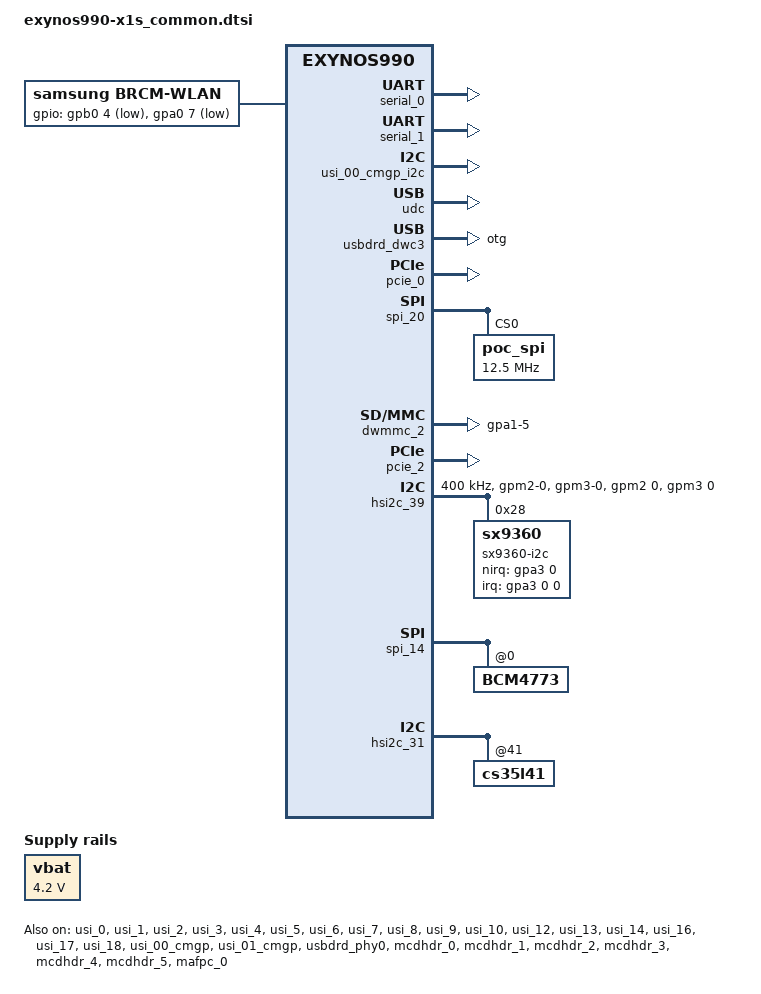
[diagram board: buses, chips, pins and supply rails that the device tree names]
/*
 * SAMSUNG EXYNOS990 board device tree source
 *
 * Copyright (c) 2019 Samsung Electronics Co., Ltd.
 *		http://www.samsung.com
 *
 * This program is free software; you can redistribute it and/or modify
 * it under the terms of the GNU General Public License version 2 as
 * published by the Free Software Foundation.
*/

#include <dt-bindings/clock/exynos9830.h>
#include "exynos9830-universal9830_if-pmic-max77705.dtsi"
#include <dt-bindings/pci/pci.h>
#include "exynos9830-x1s_camera.dtsi"
#include "exynos9830-picasso2lte_mst_r00.dtsi"
#include "exynos9830-hubble_sound.dtsi"
#include "exynos9830-hubblex1_input_common.dtsi"
#include "exynos9830-hubble_vib.dtsi"
#include "exynos9830-inputbooster.dtsi"
#include "exynos990-hubble_panel_display_modes.dtsi"

/ {
	compatible = "samsung,exynos990", "samsung,UNIVERSAL990";

	fragment@model {
		target-path = "/";
		__overlay__ {
			#address-cells = <2>;
			#size-cells = <1>;

			fixed-rate-clocks {
				oscclk {
					compatible = "samsung,exynos9830-oscclk";
					clock-frequency = <26000000>;
				};
			};

			exynos_rgt {
				compatible = "samsung,exynos-rgt";
				num-acpm-pmic = <2>;
			};

			firmware {
				android: android {
					compatible = "android,firmware";
					vbmeta {
						compatible = "android,vbmeta";
						parts = "vbmeta,boot,system,vendor,product,odm,prism,optics,vbmeta_samsung,recovery,dtbo,keystorage,harx";
					};
				};
			};

			usb_hs_tune:hs_tune {
				status = "disabled";
				hs_tune_cnt = <5>;
				/* value = <device host> */
				hs_tune1 {
					tune_name = "tx_pre_emp";
					tune_value = <0x3 0x3>;
				};

				hs_tune2 {
					tune_name = "tx_vref";
					tune_value = <0xd 0xd>;
				};

				hs_tune3 {
					tune_name = "rx_sqrx";
					tune_value = <0x4 0x4>;
				};

				hs_tune4 {
					tune_name = "utmi_clk";
					tune_value = <0x1 0x1>;
				};

				hs_tune5 {
					tune_name = "compdis";
					tune_value = <0x7 0x7>;
				};
			};

			usb_ss_tune:ss_tune {
				status = "disabled";
				ss_tune_cnt = <36>;
				/* value = <device host> */
				/* 0xffffffff means using default value */
				ss_tune1 {
					tune_name = "ssrx_sqhs_th_ss";
					tune_value = <0xffffffff 0xffffffff>;
				};

				ss_tune2 {
					tune_name = "ssrx_sqhs_th_ssp";
					tune_value = <0xffffffff 0xffffffff>;
				};

				ss_tune3 {
					tune_name = "ssrx_lfps_th";
					tune_value = <0xffffffff 0xffffffff>;
				};

				ss_tune4 {
					tune_name = "ssrx_adap_coef_sel";
					tune_value = <0xffffffff 0xffffffff>;
				};

				ss_tune5 {
					tune_name = "ssrx_mf_eq_psel_ctrl_ss";
					tune_value = <0xffffffff 0xffffffff>;
				};

				ss_tune6 {
					tune_name = "ssrx_mf_eq_psel_ctrl_ssp";
					tune_value = <0xffffffff 0xffffffff>;
				};

				ss_tune7 {
					tune_name = "ssrx_mf_eq_zsel_ctrl_ss";
					tune_value = <0xffffffff 0xffffffff>;
				};

				ss_tune8 {
					tune_name = "ssrx_mf_eq_zsel_ctrl_ssp";
					tune_value = <0xffffffff 0xffffffff>;
				};

				ss_tune9 {
					tune_name = "ssrx_hf_eq_rsel_ctrl_ss";
					tune_value = <0xffffffff 0xffffffff>;
				};

				ss_tune10 {
					tune_name = "ssrx_hf_eq_rsel_ctrl_ssp";
					tune_value = <0xffffffff 0xffffffff>;
				};

				ss_tune11 {
					tune_name = "ssrx_hf_eq_csel_ctrl_ss";
					tune_value = <0xffffffff 0xffffffff>;
				};

				ss_tune12 {
					tune_name = "ssrx_hf_eq_csel_ctrl_ssp";
					tune_value = <0xffffffff 0xffffffff>;
				};

				ss_tune13 {
					tune_name = "ssrx_dfe_1tap_ctrl_ss";
					tune_value = <0xffffffff 0xffffffff>;
				};

				ss_tune14 {
					tune_name = "ssrx_dfe_1tap_ctrl_ssp";
					tune_value = <0xffffffff 0xffffffff>;
				};

				ss_tune15 {
					tune_name = "ssrx_dfe_2tap_ctrl_ss";
					tune_value = <0xffffffff 0xffffffff>;
				};

				ss_tune16 {
					tune_name = "ssrx_dfe_2tap_ctrl_ssp";
					tune_value = <0xffffffff 0xffffffff>;
				};

				ss_tune17 {
					tune_name = "ssrx_dfe_3tap_ctrl_ss";
					tune_value = <0xffffffff 0xffffffff>;
				};

				ss_tune18 {
					tune_name = "ssrx_dfe_3tap_ctrl_ssp";
					tune_value = <0xffffffff 0xffffffff>;
				};

				ss_tune19 {
					tune_name = "ssrx_dfe_4tap_ctrl_ss";
					tune_value = <0xffffffff 0xffffffff>;
				};

				ss_tune20 {
					tune_name = "ssrx_dfe_4tap_ctrl_ssp";
					tune_value = <0xffffffff 0xffffffff>;
				};

				ss_tune21 {
					tune_name = "ssrx_dfe_5tap_ctrl_ss";
					tune_value = <0xffffffff 0xffffffff>;
				};

				ss_tune22 {
					tune_name = "ssrx_dfe_5tap_ctrl_ssp";
					tune_value = <0xffffffff 0xffffffff>;
				};

				ss_tune23 {
					tune_name = "ssrx_term_cal";
					tune_value = <0xffffffff 0xffffffff>;
				};

				ss_tune24 {
					tune_name = "sstx_amp_ss";
					tune_value = <0xffffffff 0xffffffff>;
				};

				ss_tune25 {
					tune_name = "sstx_deemp_ss";
					tune_value = <0xffffffff 0xffffffff>;
				};

				ss_tune26 {
					tune_name = "sstx_pre_shoot_ss";
					tune_value = <0xffffffff 0xffffffff>;
				};

				ss_tune27 {
					tune_name = "sstx_amp_ssp";
					tune_value = <0xffffffff 0xffffffff>;
				};

				ss_tune28 {
					tune_name = "sstx_deemp_ssp";
					tune_value = <0xffffffff 0xffffffff>;
				};

				ss_tune29 {
					tune_name = "sstx_pre_shoot_ssp";
					tune_value = <0xffffffff 0xffffffff>;
				};

				ss_tune30 {
					tune_name = "sstx_idrv_up";
					tune_value = <0xffffffff 0xffffffff>;
				};

				ss_tune31 {
					tune_name = "sstx_lfps_idrv_up";
					tune_value = <0xffffffff 0xffffffff>;
				};

				ss_tune32 {
					tune_name = "sstx_up_term";
					tune_value = <0xffffffff 0xffffffff>;
				};

				ss_tune33 {
					tune_name = "sstx_dn_term";
					tune_value = <0xffffffff 0xffffffff>;
				};

				ss_tune34 {
					tune_name = "rext_ovrd";
					tune_value = <0xffffffff 0xffffffff>;
				};

				ss_tune35 {
					tune_name = "ssrx_cdr_fbb_fine_ctrl_sp";
					tune_value = <0xffffffff 0xffffffff>;
				};

				ss_tune36 {
					tune_name = "ssrx_cdr_fbb_fine_ctrl_ssp";
					tune_value = <0xffffffff 0xffffffff>;
				};
			};

			usb_notifier {
				compatible = "samsung,usb-notifier";
				udc = <&udc>;

				usb-ldocontrol = <4>; /* Exynos9830 */
				disable_host_wakelock;
			};

			wlan {
				compatible = "samsung,brcm-wlan";
				gpios = <&gpb0 4 0x1 /* WLAN_EN */
					&gpa0 7 0x1 /* WLAN HOST WAKE GPIO_0 */>;
				pinctrl-names = "default";
				pinctrl-0 = <&cfg_wlanen &wlan_host_wake>;
				status = "okay";
			};

			vbat: vbat {
				compatible = "regulator-fixed";
				regulator-name = "VBAT";
				regulator-min-microvolt = <4200000>;
				regulator-max-microvolt = <4200000>;
				regulator-boot-on;
			};

			hall {
				status = "okay";
				compatible = "hall";
				pinctrl-names = "default";
				pinctrl-0 = <&hall_irq>;
				hall,gpio_flip_cover = <&gpa3 6 1>;
			};

			certify_hall {
				status = "okay";
				compatible = "certify_hall";
				pinctrl-names = "default";
				pinctrl-0 = <&certify_hall_irq>;
				certify_hall,gpio_certify_cover = <&gpa0 2 1>;
			};

			sec_abc {
				compatible = "samsung,sec_abc";
				status = "okay";

				gpu {
					gpu,label="GPU fault";
					gpu,threshold_count=<20>;
					gpu,threshold_time=<1200>;
				};
				aicl {
					aicl,label="battery aicl";
					aicl,threshold_count=<5>;
					aicl,threshold_time=<300>;
				};
			};

			abc_hub {
				compatible = "samsung,abc_hub";
				status = "okay";

				bootc {
					bootc,time_spec_user = <100000>; /* user binary user build */
					bootc,time_spec_eng = <100000>; /* user binary eng build */
					bootc,time_spec_fac = <100000>; /* factory binary */
				};
			};

			nad_balancer {
				compatible = "samsung,sec_nad_balancer";
				status = "okay";

				nad_balancer,timeout = <400>;

				qos {
					cl0 {
						qos,label="LIT";
						qos,delay_time=<9>;
						qos,table_size=<13>;
						qos,table=<1950000 1846000 1742000 1586000 1456000 1300000 1157000 1053000 949000
							806000 650000 546000 442000>;
					};

					cl1 {
						qos,label="MID";
						qos,delay_time=<8>;
						qos,table_size=<17>;
						qos,table=<2314000 2210000 2106000 2002000 1898000 1794000 1690000 1586000 1508000
							1404000 1222000 1066000 962000 845000 754000 650000 507000>;
					};

					cl2 {
						qos,label="BIG";
						qos,delay_time=<7>;
						qos,table_size=<18>;
						qos,table=<2314000 2210000 2106000 2002000 1898000 1794000 1690000 1586000 1482000 
							1378000 1274000 1170000 1066000 962000 858000 754000 650000 546000>;
					};

					mif {
						qos,label="MIF";
						qos,delay_time=<10>;
						qos,table_size=<5>;
						qos,table=<2028000 1716000 1539000 1352000 1014000>;
					};
				};

				sleep {
					/* per msec */
					sleep,suspend_threshold = <1000>;
					sleep,resume_threshold = <1000>;
				};
			};

			argos {
				compatible = "samsung,argos";
				#address-cells = <1>;
				/*  The device number should be assigned for each device, e.g. "boot_device@1" and "boot_device@2".
				 * Duplicated number is not allowed. Please refer the below example.
				 */

				/* Table Format
				 * threshold : throughput threshold(Mbps)
				 * big_min : Big Core's minimum frequency lock. 0 means not set,
				 * big_max : Big Core's maximum frequency lock. 0 means not set,
				 * mid_min : Middle Core's minimum frequency lock. 0 means not set,
				 * mid_max : Middle Core's maximum frequency lock. 0 means not set,
				 * lit_min : Little Core's minimum frequency lock. 0 means not set,
				 * lit_max : Little Core's maximum frequency lock. 0 means not set,
				 * mif : MIF frequency lock. 0 means not set,
				 * int : INT frequency lock. 0 means not set,
				 * task_affinity : "enable" - Set task affinity lock.
				 *	           "disable" - Not set or unlock,
				 *		   Task affinity should be predefined driver's code.
				 * irq_affinity : "enable" - Set irq affinity lock.
				 *                "disable" - Not set or unlock,
				 *		  IRQ affinity should be predefined driver's code.
				 * hmp_boot : "enable" - Increase hmp boosting count
				 *            "disable" - Decrease hmp boosting count
				 */

				boot_device@1 {
					net_boost,label="UFS";
					net_boost,node="";
					net_boost,sysnode="/sys/class/scsi_host/host0/transferred_cnt";
					net_boost,table {
						level_0 {
							threshold = <800>; /* 100 MB/s */
							mid_min = <1456000>;
							lit_min = <1456000>;
							int = <400000>;
						};
						level_1 {
							threshold = <1120>; /* 140 MB/s */
							mid_min = <2002000>;
							lit_min = <1950000>;
							int = <533000>;
						};
					};
				};
				boot_device@2 {
					net_boost,label="WIFI TX";
					net_boost,node="wlan0";
					net_boost,slowdown;
					net_boost,table {
						level_0 {
							threshold = <60>;
							mid_min = <1456000>;
							lit_min = <1456000>;
						};
						level_1 {
							threshold = <150>;
							mid_min = <1690000>;
							lit_min = <1742000>;
						};
						level_2 {
							threshold = <200>;
							mid_min = <1898000>;
							lit_min = <1742000>;
							mif = <1352000>;
							int = <400000>;
							task_affinity = "enable";
							irq_affinity = "enable";
							hmp_boost = "enable";
						};
						level_3 {
							threshold = <300>;
							mid_min = <2106000>;
							lit_min = <1742000>;
							mif = <1716000>;
							int = <533000>;
							task_affinity = "enable";
							irq_affinity = "enable";
							hmp_boost = "enable";
						};
					};
				};
				boot_device@3 {
					net_boost,label="WIFI RX";
					net_boost,node="wlan0";
					net_boost,slowdown;
					net_boost,table {
						level_0 {
							threshold = <100>;
							mid_min = <1053000>;
							lit_min = <1053000>;
						};
						level_1 {
							threshold = <150>;
							mid_min = <1404000>;
							lit_min = <1300000>;
						};
						level_2 {
							threshold = <200>;
							mid_min = <1690000>;
							lit_min = <1300000>;
							mif = <1352000>;
							int = <400000>;
							task_affinity = "enable";
							irq_affinity = "enable";
							hmp_boost = "enable";
						};
						level_3 {
							threshold = <300>;
							mid_min = <1898000>;
							lit_min = <1456000>;
							mif = <1716000>;
							int = <533000>;
							task_affinity = "enable";
							irq_affinity = "enable";
							hmp_boost = "enable";
						};
					};
				};
				boot_device@4 {
					net_boost,label="P2P";
					net_boost,node="p2p-wlan0-0";
					net_boost,slowdown;
					net_boost,table {
						level_0 {
							threshold = <60>;
							mid_min = <1456000>;
							lit_min = <1456000>;
						};
						level_1 {
							threshold = <150>;
							mid_min = <1690000>;
							lit_min = <1742000>;
						};
						level_2 {
							threshold = <200>;
							mid_min = <1898000>;
							lit_min = <1742000>;
							mif = <1352000>;
							int = <400000>;
							task_affinity = "enable";
							irq_affinity = "enable";
							hmp_boost = "enable";
						};
						level_3 {
							threshold = <300>;
							mid_min = <2106000>;
							lit_min = <1742000>;
							mif = <1716000>;
							int = <533000>;
							task_affinity = "enable";
							irq_affinity = "enable";
							hmp_boost = "enable";
						};
					};
				};
				boot_device@5 {
					net_boost,label="NAN";
					net_boost,node="aware_data0";
					net_boost,slowdown;
					net_boost,table {
						level_0 {
							threshold = <60>;
							mid_min = <1456000>;
							lit_min = <1456000>;
						};
						level_1 {
							threshold = <150>;
							mid_min = <1690000>;
							lit_min = <1742000>;
						};
						level_2 {
							threshold = <200>;
							mid_min = <1898000>;
							lit_min = <1742000>;
							mif = <1352000>;
							int = <400000>;
							task_affinity = "enable";
							irq_affinity = "enable";
							hmp_boost = "enable";
						};
						level_3 {
							threshold = <300>;
							mid_min = <2106000>;
							lit_min = <1742000>;
							mif = <1716000>;
							int = <533000>;
							task_affinity = "enable";
							irq_affinity = "enable";
							hmp_boost = "enable";
						};
					};
				};
				boot_device@6 {
					net_boost,label="IPC";
					net_boost,node="rmnet0 rmnet1 rmnet2 rmnet3 rmnet4 rmnet5 rmnet6 rmnet7 umts_dm0";
					net_boost,table {
						level_0 {
							threshold = <100>;
							lit_min = <1053000>;
						};
						/* uses middle */
						level_1 {
							threshold = <300>;
							lit_min = <1300000>;
						};
						level_2 {
							threshold = <500>;
							mid_min = <845000>;
							lit_min = <1300000>;
						};
						level_3 {
							threshold = <700>;
							mid_min = <1222000>;
							lit_min = <1300000>;
							mif = <1014000>;
						};
						level_4 {
							threshold = <800>;
							mid_min = <1222000>;
							lit_min = <1300000>;
							mif = <1014000>;
						};
						level_5 {
							threshold = <1500>;
							mid_min = <1508000>;
							lit_min = <1300000>;
							mif = <1014000>;
						};
						level_6 {
							threshold = <1600>;
							mid_min = <1508000>;
							lit_min = <1300000>;
							mif = <1014000>;
						};
					};
				};
				boot_device@7 {
					net_boost,label="USB";
					net_boost,node="rndis0";
					net_boost,table {
						level_0 {
							threshold = <100>;
							lit_min = <1053000>;
							irq_affinity = "enable";
						};
						level_1 {
							threshold = <200>;
							lit_min = <1540000>;
							mif = <1014000>;
							irq_affinity = "enable";
						};
						/* uses middle */
						level_2 {
							threshold = <300>;
							mid_min = <1508000>;
							lit_min = <1540000>;
							mif = <2093000>;
							int =<534000>;
							irq_affinity = "enable";
						};
						level_3 {
							threshold = <700>;
							mid_min = <2106000>;
							lit_min = <1794000>;
							mif = <2093000>;
							int =<534000>;
							irq_affinity = "enable";
						};
						level_4 {
							threshold = <800>;
							mid_min = <2106000>;
							lit_min = <1794000>;
							mif = <2535000>;
							int =<534000>;
							irq_affinity = "enable";
						};
						level_5 {
							threshold = <1500>;
							mid_min = <2314000>;
							lit_min = <1950000>;
							mif = <2730000>;
							int =<534000>;
							irq_affinity = "enable";
						};
						level_6 {
							threshold = <1600>;
							mid_min = <2314000>;
							lit_min = <1950000>;
							mif = <2730000>;
							int =<534000>;
							irq_affinity = "enable";
						};
					};
				};
			};
		}; /* end of __overlay__ */
	}; /* end of fragment */

	fragment@modemif {
		target-path = "/";
		__overlay__ {
			cpif {
				status = "okay";

				pinctrl-names = "default";
				pinctrl-0 = <&s5100_ap2cp_cp_pwr_on>,
					<&s5100_ap2cp_cp_nreset_n>,
					<&s5100_cp2ap_cp_ps_hold>,
					<&s5100_ap2cp_wakeup>,
					<&s5100_cp2ap_wakeup>,
					<&s5100_ap2cp_dump_noti>,
					<&s5100_ap2cp_pda_active>,
					<&s5100_cp2ap_phone_active>,
					<&s5100_ap2cp_pda_active_discard>;
			};
		};
	};
}; /* end of root */

/* discard s5100_ap2cp_pda_active due to ESD failure
 * set a pin for s5100_ap2cp_dump_noti to s5100_ap2cp_pda_active instead
 */
&pinctrl_4 {
	s5100_ap2cp_pda_active_discard: s5100_ap2cp_pda_active_discard {
		samsung,pins = "gpg0-0";
		samsung,pin-function = <1>;
		samsung,pin-val = <0>;
		samsung,pin-pud = <1>;
		samsung,pin-con-pdn = <3>;
	};
};

&serial_0 {
	samsung,uart-logging;
	status = "okay";
};

&serial_1 {
	samsung,rts-trig-level = <1>;
	samsung,uart-logging;
	samsung,uart-panic-log;
	status = "okay";
};

&pinctrl_0 {
	hall_irq: hall-irq {
		samsung,pins = "gpa3-6";
		samsung,pin-function = <0xf>;
		samsung,pin-pud = <0>;
		samsung,pin-drv = <0>;
	};

	certify_hall_irq: certify-hall-irq {
		samsung,pins = "gpa0-2";
		samsung,pin-function = <0xf>;
		samsung,pin-pud = <0>;
		samsung,pin-drv = <0>;
	};

	grip_irq: grip-irq {
		samsung,pins = "gpa3-0";
		samsung,pin-function = <0xf>;
		samsung,pin-pud = <0>;
		samsung,pin-drv = <3>;
		samsung,pin-con-pdn = <3>; // PREV in sleep
		samsung,pin-pud-pdn = <0>; // NP in sleep
	};
};

&fmp_0 {
	exynos,block-type = "sda";
	exynos,fips-block_offset = <5>;
};

&usi_0 {
	usi_v2_mode = "i2c";
	status = "okay";
};

&usi_1 {
	usi_v2_mode = "i2c";
	status = "okay";
};

&usi_2 {
	usi_v2_mode = "i2c";
	status = "okay";
};

&usi_3 {
	usi_v2_mode = "i2c";
	status = "okay";
};

&usi_4 {
	usi_v2_mode = "spi";
	status = "okay";
};

&usi_5 {
	usi_v2_mode = "i2c";
	status = "okay";
};

&usi_6 {
	usi_v2_mode = "spi";
	status = "okay";
};

&usi_7 {
	usi_v2_mode = "i2c";
	status = "okay";
};

&usi_8 {
	usi_v2_mode = "spi";
	status = "okay";
};

&usi_9 {
	usi_v2_mode = "spi";
	status = "okay";
};

&usi_10 {
	usi_v2_mode = "spi";
	status = "okay";
};

&usi_12 {
	usi_v2_mode = "i2c";
	status = "okay";
};

&usi_13 {
	usi_v2_mode = "i2c";
	status = "okay";
};

&usi_14 {
	usi_v2_mode = "spi";
	status = "okay";
};

&usi_16 {
	usi_v2_mode = "uart";
	status = "okay";
};

&usi_17 {
	usi_v2_mode = "i2c";
	status = "okay";
};

&usi_18 {
	usi_v2_mode = "spi";
	status = "okay";
};

&usi_00_cmgp {
	usi_v2_mode = "i2c";
	status = "okay";
};

&usi_00_cmgp_i2c {
	usi_v2_mode = "i2c";
	status = "okay";
};

&usi_01_cmgp {
	usi_v2_mode = "spi";
	status = "okay";
};

&serial_18 {
	pinctrl-0 = <&uart18_bus_dual>;
};

&udc {
	status = "okay";
};

&usbdrd_dwc3 {
	status = "okay";

	dr_mode = "otg";
	maximum-speed = "super-speed-plus";
	snps,quirk-frame-length-adjustment = <0x20>;
	/* snps,u1u2_exitfail_quirk; */
	/* ux_exit_in_px should be defined in MK, LT */
	snps,ux_exit_in_px_quirk;
	/* elastic_buf_mode_quirk should be defined in MK */
	snps,elastic_buf_mode_quirk;
	/* usb3-lpm-capable; */
	/* snps,usb3_lpm_capable; */
	adj-sof-accuracy = <1>;
	/*
	 * dis-u2-freeclk-exists-quirk, dis_u2_susphy_quirk are alternative.
	 * One of them should be selected
	 */
	snps,dis-u2-freeclk-exists-quirk;
	/*snps,dis_u2_susphy_quirk;*/
	samsung,no-extra-delay;
	samsung,force-gen1;
	usb_host_device_timeout = <200>; /* Max value */

	usb_audio_offloading = <1>;
	abox = <&abox>;
	/* check susphy support */
	xhci_l2_support = <1>;
};

&usbdrd_phy0 {
	status = "okay";

	/*
	pinctrl-names = "default";
	pinctrl-0 = <&phy_port>;
	*/
	use_default_tune_val = <0x1>;
	phy,gpio_phy_port = <&gpm26 0 0x0>;
	hs_tune_param = <&usb_hs_tune>;
	ss_tune_param = <&usb_ss_tune>;
};

&pcie_0 {
	pinctrl-names = "active","idle";
	pinctrl-0 = <&pcie0_clkreq &pcie0_perst &cfg_wlanen &wlan_host_wake>;
	pinctrl-1 = <&pcie0_perst &cfg_wlanen &wlan_host_wake>;
	status = "okay";
	use-sysmmu = "false";
	use-cache-coherency = "false";
	use-msi = "false";
	ep-device-type = <EP_BCM_WIFI>;
	ep-device-name = "WIFI";
};

&pinctrl_1 {
	spi20_input_none:
	spi20-input-none {
		samsung,pins = "gpm4-0", "gpm5-0", "gpm6-0", "gpm7-0";
		samsung,pin-function = <0>;
		samsung,pin-pud = <0>;
		samsung,pin-drv = <0>;
	};
};

&spi_20 {
	#address-cells = <1>;
	#size-cells = <0>;
	status = "okay";
	pinctrl-names = "default", "idle";
	pinctrl-0 = <&spi20_bus &spi20_cs_func>;
	pinctrl-1 = <&spi20_input_none>;
	num-cs = <1>;
	poc_spi@0 {
		compatible = "poc_spi";
		reg = <0x0>;
		spi-max-frequency = <12500000>;
		bits-per-word = <8>;
		controller-data {
			cs-gpio = <&gpm7 0 0>;
			samsung,spi-chip-select-mode = <0>;
			samsung,spi-feedback-delay = <0>;
		};
	};
};

&pinctrl_1 {
	disp_det_ctrl:	disp-det-ctrl {
		samsung,pins = "gpm17-0";
		samsung,pin-pud = <0>;
	};
};

&pinctrl_5 {
	disp_te_ctrl:	disp-te-ctrl {
		samsung,pins = "gpc0-4";
		samsung,pin-con-pdn = <3>; // prev in sleep
		samsung,pin-pud-pdn = <0>; // np in sleep
	};
};

&s6e3hab {
	size = <64 144>;
};

&panel_drv_0 {
    status = "okay";
	ddi_info = <&s6e3hab>;

	#address-cells = <2>;
	#size-cells = <1>;
	ranges;
	pinctrl-names = "default";
	pinctrl-0 = <&disp_det_ctrl &disp_te_ctrl>;

	gpios {
		disp-reset {
			name = "disp-reset";
			gpios = <&gpa3 4 1>;	/* ACTIVE_LOW */
			dir = <0>;  /* OUT */
			irq-type = <0x0>;   /* NONE */
		};

		disp-det {
			name = "disp-det";
			gpios = <&gpm17 0 1>;  /* 0:OK, 1:NOK(active) */
			dir = <1>;  /* IN */
			irq-type = <0x2>;   /* FALLING EDGE */
			irq-pend {
				reg = <0x0 0x15850A34 0x0>;
				bit = <0x2>;
			};
		};

		err-fg {
			name = "err-fg";
			gpios = <&gpa3 5 0>; 		/* 0:NOK(active) 1:OK */
			dir = <1>;  				/* IN */
			irq-type = <0x00002001>;	/* RISING EDGE | ONE_SHOT */
		};
	};

	regulators {
		ddi-vci {
			regulator = <&dp_ldo4>;
			def-voltage = <3000000>;
			lpm-voltage = <3000000>;
		};

		ddi-vdd3 {
			regulator = <&dp_ldo1>;
			def-voltage = <1800000>;
			lpm-voltage = <1800000>;
		};

		ddr-vddr {
			regulator = <&dp_buck>;
			def-voltage = <1800000>;
			lpm-voltage = <1500000>;
		};

		short-detect {
			regulator = <&dp_elvss>;
			from-off = <2000>;
			from-lpm = <0>;
		};
	};
	panel-lookup {
		panel-name =
			/* OSC:96.5MHz */
			"s6e3hab_hubble1_a3_s0_preliminary_osc_96_5m",
			"s6e3hab_hubble1_a3_s0_default_osc_96_5m",
			"s6e3hab_hubble1_a3_s0_default_osc_96_5m_rev03",
			/* OSC:86.4MHz */
			"s6e3hab_hubble1_a3_s0_preliminary",
			"s6e3hab_hubble1_a3_s0_default",
			"s6e3hab_hubble1_a3_s0_default_rev03";
		panel-ddi-info = <&s6e3hab>;
		panel-display-modes = <&hubble_panel_display_modes>;
		panel-lut = <
			0x000000 0x0000CF 0x0 0x0  /* S6E3HAB 1440x3200 X1 PANEL REV00, OSC:96.5 */
			0x000001 0x0000CF 0x0 0x0  /* S6E3HAB 1440x3200 X1 PANEL REV01, OSC:96.5 */
			0x000002 0x0000CF 0x1 0x0  /* S6E3HAB 1440x3200 X1 PANEL REV02, OSC:96.5 */
			0x000000 0x0000C0 0x2 0x0  /* S6E3HAB 1440x3200 X1 PANEL REV03, OSC:96.5 */

			0x000040 0x0000CF 0x3 0x0  /* S6E3HAB 1440x3200 X1 PANEL REV01, OSC:86.4 */
			0x000041 0x0000CF 0x3 0x0  /* S6E3HAB 1440x3200 X1 PANEL REV01, OSC:86.4 */
			0x000042 0x0000CF 0x4 0x0  /* S6E3HAB 1440x3200 X1 PANEL REV02, OSC:86.4 */
			0x000040 0x0000C0 0x5 0x0  /* S6E3HAB 1440x3200 X1 PANEL REV03, OSC:86.4 */
			0x000000 0x000000 0x2 0x0  /* default */
		>;
	};
};

&pinctrl_0 {
	dwmmc2_cd_ext_irq: dwmmc2_cd_ext_irq {
		samsung,pins = "gpa1-5";
		samsung,pin-function = <0xf>;
		samsung,pin-pud = <0>;
		samsung,pin-drv = <4>;
	};
};

&ufs {
	/* board type for UFS CAL */
	brd-for-cal = /bits/ 8 <16>;  /* (1:SMDK, 16:UNIV) board */
	hpb-enable = <1>;
};

&dwmmc_2 {
	#address-cells = <2>;
	#size-cells = <1>;
	status = "okay";
	num-slots = <1>;
	supports-4bit;
	supports-cmd23;
	supports-erase;
	supports-highspeed;
	sd-uhs-sdr50;
	sd-uhs-sdr104;
	card-detect-gpio;
	bypass-for-allpass;
	use-fine-tuning;
	card-init-hwacg-ctrl;
	skip-init-mmc-scan;
	fifo-depth = <0x40>;
	qos_dvfs_level = <400000>;
	desc-size = <4>;
	ssc-rate = <3>;
	card-detect-delay = <200>;
	data-timeout = <200>;
	hto-timeout = <80>;
	samsung,dw-mshc-ciu-div = <3>;
	clock-frequency = <800000000>;
	samsung,dw-mshc-sdr-timing = <3 0 2 0>;
	samsung,dw-mshc-ddr-timing = <3 0 2 1>;
	samsung,dw-mshc-sdr50-timing = <3 0 4 2>;
	samsung,dw-mshc-sdr104-timing = <3 0 3 0>;

	num-ref-clks = <9>;
	ciu_clkin = <25 50 50 25 50 100 200 50 50>;

	/* Swapping clock drive strength */
	clk-drive-number = <6>;
	pinctrl-names = "default",
		"fast-slew-rate-1x",
		"fast-slew-rate-1_5x",
		"fast-slew-rate-2x",
		"fast-slew-rate-2_5x",
		"fast-slew-rate-3x",
		"fast-slew-rate-4x",
		"pins-as-pdn",
		"pins-as-func";
	pinctrl-0 = <&sd2_clk &sd2_cmd &sd2_bus1 &sd2_bus4 &dwmmc2_cd_ext_irq>;
	pinctrl-1 = <&sd2_clk_fast_slew_rate_1x>;
	pinctrl-2 = <&sd2_clk_fast_slew_rate_1_5x>;
	pinctrl-3 = <&sd2_clk_fast_slew_rate_2x>;
	pinctrl-4 = <&sd2_clk_fast_slew_rate_2_5x>;
	pinctrl-5 = <&sd2_clk_fast_slew_rate_3x>;
	pinctrl-6 = <&sd2_clk_fast_slew_rate_4x>;
	pinctrl-7 = <&sd2_pins_as_pdn>;
	pinctrl-8 = <&sd2_clk &sd2_cmd &sd2_bus1 &sd2_bus4>;

	card-detect = <&gpa1 5 0xf>;
	sec-sd-slot-type = <2>; /* Hybrid Tray SD slot */

	slot@0 {
		reg = <0>;
		bus-width = <4>;
		disable-wp;
	};
};

&pcie_2 {
	status = "okay";
	use-sysmmu = "false";
	use-cache-coherency = "true";
	use-msi = "true";
	use-pcieon-sleep = "true";
	phy-power-off = "false";
	ep-device-type = <EP_SAMSUNG_MODEM>;
};

&pinctrl_1 {
	grip_i2c: grip-i2c {
		samsung,pins = "gpm2-0", "gpm3-0";
		samsung,pin-function = <3>;
		samsung,pin-pud = <0>;
		samsung,pin-drv = <0>;
	};
};

&hsi2c_39 { /* 15D10000 */
	#address-cells = <1>;
	#size-cells = <0>;
	gpios = <&gpm2 0 0 &gpm3 0 0>;
	status = "okay";
	clock-frequency = <400000>;

	pinctrl-names = "default";
	pinctrl-0 = <&grip_i2c>;

	sx9360-i2c@28 {
		compatible = "sx9360";
		reg = <0x28>;
		status = "okay";
		pinctrl-names = "default";
		pinctrl-0 = <&grip_irq>;
		interrupt-parent = <&gpa3>;
		interrupts = <0 0 0>;

		sx9360,nirq-gpio = <&gpa3 0 0>;
		sx9360,refresolution_reg = <0x0f>; /* same as resolution_reg */
		sx9360,refagainfreq_reg = <0x36>; /* same as againfreq_reg */
		sx9360,resolution_reg = <0x0f>; /* resolution : 1024 */
		sx9360,againfreq_reg = <0x36>; /* freq : 83.33 kHz, again : +/-5.25 pF */
		sx9360,refgainrawfilt_reg = <0x22>; /* same as gainrawfilt_reg */
		sx9360,gainrawfilt_reg = <0x22>; /* rawfilter : 1-1/4, gain : x8 */
		sx9360,hyst_reg = <0x15>; /* hysteresis : +/-6 %, debouncer : 2 samples */
		sx9360,proxthresh_reg = <0x2C>; /* threshhold : 968 */
		sx9360,hallic_cert_detect = <1>;
	};
};

&spi_14 {
        BCM4773@0 {
        	ssp-ap-type = <0>;
        	ssp-mag-array = /bits/ 8 <153 82 4 239 242 224 0 207 211 55 5 189 207 202 255 71 255 86 160 91 190 252 4 15 10 190 188>;
        };
};

&mcdhdr_0 {
	status = "okay";
};

&mcdhdr_1 {
	status = "okay";
};

&mcdhdr_2 {
	status = "okay";
};

&mcdhdr_3 {
	status = "okay";
};

&mcdhdr_4 {
	status = "okay";
};

&mcdhdr_5 {
	status = "okay";
};
&mafpc_0 {
    status = "okay";
};

&hsi2c_31 {
	cs35l41@41 {
		cirrus,bd-max-temp = <105>;
	};
};
